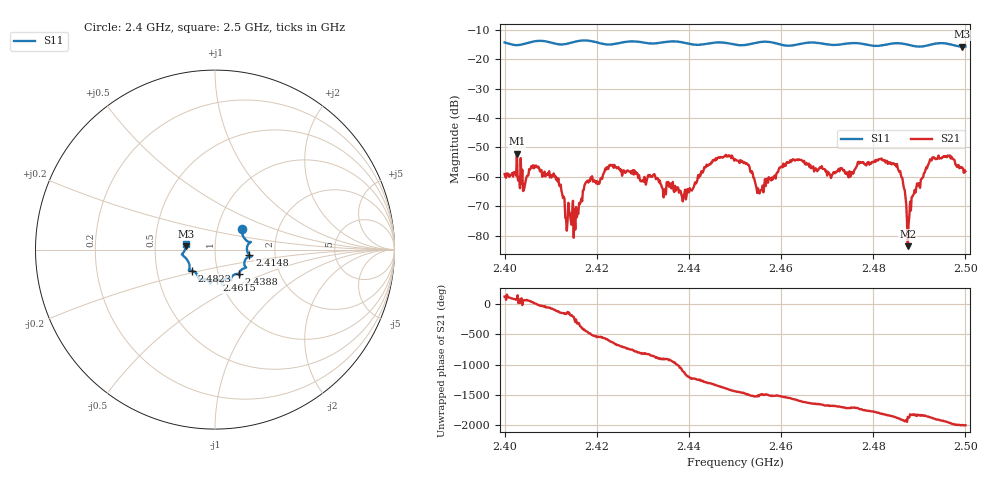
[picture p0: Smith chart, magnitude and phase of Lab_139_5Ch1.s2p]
# Hz S RI R 50
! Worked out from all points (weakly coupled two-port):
!   601 points, 2.4 GHz to 2.5 GHz, reference 50 ohm
!   highest |S21| = -52.08 dB at 2.4027 GHz (marker M1); lowest = -83.5 dB at 2.4875 GHz (marker M2)
!   lowest |S11| = -15.8 dB at 2.4993 GHz (marker M3), VSWR 1.39, Z = 36 + j1.33 ohm
!   |S11| at or under -10 dB: start of sweep to end of sweep
!   S12 and S22 are empty: the file has one direction only
!   S11 on the Smith chart (normalised r, x): 2.4 GHz: 1.31, +0.32; 2.4148 GHz: 1.47, -0.10; 2.4388 GHz: 1.25, -0.36; 2.4615 GHz: 0.97, -0.34; 2.4823 GHz: 0.75, -0.18; 2.5 GHz: 0.72, +0.04
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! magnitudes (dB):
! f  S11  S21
! 2.4 GHz  -14.3  -59.0
! 2.4027 GHz  -15.2  -52.1
! 2.4108 GHz  -14.7  -60.0
! 2.4132 GHz  -14.9  -73.9
! 2.4148 GHz  -14.2  -68.1
! 2.4167 GHz  -13.7  -67.3
! 2.423 GHz  -15.0  -55.9
! 2.4333 GHz  -14.5  -60.8
! 2.4388 GHz  -14.4  -66.3
! 2.4453 GHz  -14.4  -54.3
! 2.45 GHz  -15.0  -53.9
! 2.4527 GHz  -15.1  -55.5
! 2.4553 GHz  -14.2  -65.6
! 2.4615 GHz  -15.4  -55.2
! 2.4667 GHz  -14.3  -57.0
! 2.4823 GHz  -15.2  -54.5
! 2.4833 GHz  -14.9  -55.2
! 2.4858 GHz  -14.6  -58.0
! 2.4875 GHz  -15.1  -83.5
! 2.4927 GHz  -15.0  -54.4
! 2.4993 GHz  -15.8  -56.9
! 2.5 GHz  -15.7  -58.1
